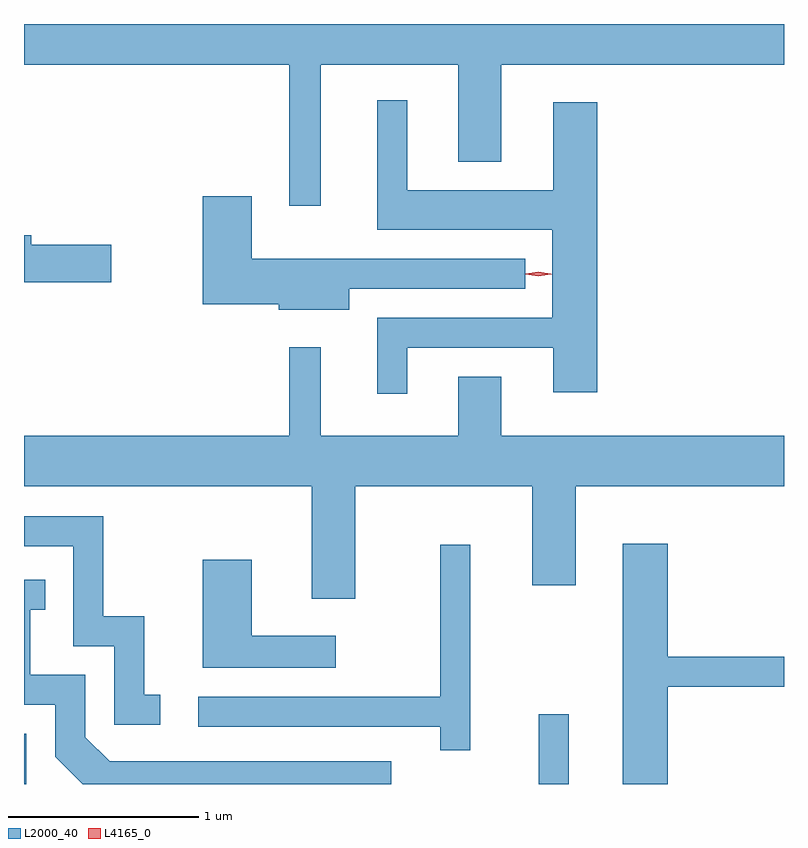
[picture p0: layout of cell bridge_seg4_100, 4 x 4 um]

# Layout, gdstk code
import gdstk
lib = gdstk.Library(unit=1e-6, precision=1e-09)
def R(c, l, rs):  # rectangles x0, y0, x1, y1
    for r in rs: c.add(gdstk.rectangle(r[:2], r[2:], *l))
def P(c, l, *ps):  # polygons
    for p in ps: c.add(gdstk.Polygon(p, *l))
L2000_40 = (2000, 40)
L4165_0 = (4165, 0)

bridge_seg4_100 = lib.new_cell('bridge_seg4_100')
R(bridge_seg4_100, L2000_40, [(987.626,1364.21,987.639,1364.474), (990.336,1364.21,990.494,1364.578)])
P(bridge_seg4_100, L2000_40, [(989.189,1367.996),(989.911,1367.996),(989.911,1367.486),(990.139,1367.486),(990.139,1367.996),(991.626,1367.996),(991.626,1368.21),(987.626,1368.21),(987.626,1367.996),(989.021,1367.996),(989.021,1367.253),(989.189,1367.253)],
  [(989.644,1366.506),(990.411,1366.506),(990.411,1366.271),(990.644,1366.271),(990.644,1367.799),(990.411,1367.799),(990.411,1367.334),(989.644,1367.334),(989.644,1367.808),(989.486,1367.808),(989.486,1367.126),(990.406,1367.126),(990.406,1366.664),(989.486,1366.664),(989.486,1366.263),(989.644,1366.263)],
  [(989.339,1366.816),(990.263,1366.816),(990.263,1366.974),(988.824,1366.974),(988.824,1367.304),(988.566,1367.304),(988.566,1366.736),(988.966,1366.736),(988.966,1366.706),(989.339,1366.706)],
  [(988.084,1367.049),(987.664,1367.049),(987.664,1367.099),(987.626,1367.099),(987.626,1366.851),(988.084,1366.851)],
  [(989.369,1365.776),(990.301,1365.776),(990.301,1365.256),(990.529,1365.256),(990.529,1365.776),(991.626,1365.776),(991.626,1366.044),(990.139,1366.044),(990.139,1366.354),(989.911,1366.354),(989.911,1366.044),(989.189,1366.044),(989.189,1366.508),(989.021,1366.508),(989.021,1366.044),(987.626,1366.044),(987.626,1365.776),(989.141,1365.776),(989.141,1365.186),(989.369,1365.186)],
  [(988.343,1364.679),(988.259,1364.679),(988.259,1365.094),(988.044,1365.094),(988.044,1365.619),(987.626,1365.619),(987.626,1365.461),(987.886,1365.461),(987.886,1364.936),(988.101,1364.936),(988.101,1364.521),(988.343,1364.521)],
  [(991.014,1364.721),(991.626,1364.721),(991.626,1364.879),(991.014,1364.879),(991.014,1365.474),(990.776,1365.474),(990.776,1364.21),(991.014,1364.21)],
  [(989.974,1365.468),(989.816,1365.468),(989.816,1364.669),(988.543,1364.669),(988.543,1364.511),(989.816,1364.511),(989.816,1364.388),(989.974,1364.388)],
  [(989.268,1364.989),(988.824,1364.989),(988.824,1365.389),(988.566,1365.389),(988.566,1364.821),(989.268,1364.821)],
  [(989.559,1364.329),(988.077,1364.329),(987.949,1364.457),(987.949,1364.784),(987.659,1364.784),(987.659,1365.126),(987.738,1365.126),(987.738,1365.284),(987.626,1365.284),(987.626,1364.626),(987.791,1364.626),(987.791,1364.354),(987.935,1364.21),(989.559,1364.21)])
P(bridge_seg4_100, L4165_0, [(990.333,1366.882),(990.264,1366.892),(990.263,1366.892),(990.264,1366.893),(990.333,1366.902),(990.402,1366.893),(990.403,1366.892),(990.402,1366.892)],
  [(990.333,1366.885),(990.267,1366.894),(990.267,1366.895),(990.267,1366.896),(990.333,1366.905),(990.399,1366.896),(990.399,1366.895),(990.399,1366.894)])

lib.write_gds('bridge_seg4_100.gds')
